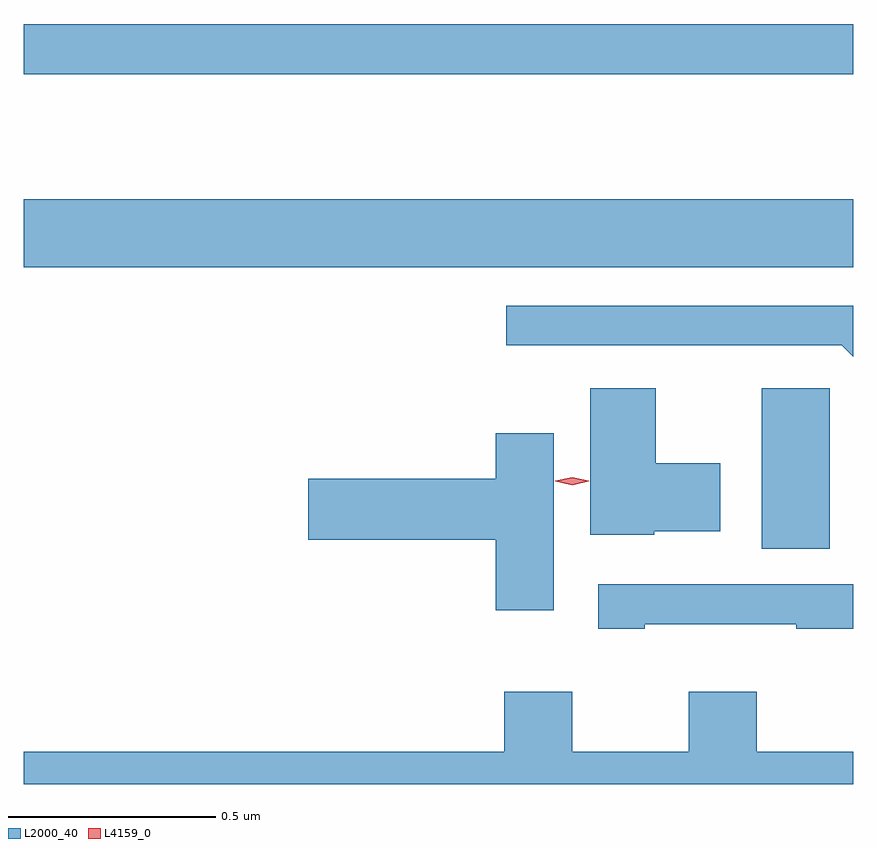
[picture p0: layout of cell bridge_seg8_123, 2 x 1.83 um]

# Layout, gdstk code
import gdstk
lib = gdstk.Library(unit=1e-6, precision=1e-09)
def R(c, l, rs):  # rectangles x0, y0, x1, y1
    for r in rs: c.add(gdstk.rectangle(r[:2], r[2:], *l))
def P(c, l, *ps):  # polygons
    for p in ps: c.add(gdstk.Polygon(p, *l))
L2000_40 = (2000, 40)
L4159_0 = (4159, 0)

bridge_seg8_123 = lib.new_cell('bridge_seg8_123')
R(bridge_seg8_123, L2000_40, [(787.364,1146.457,787.528,1146.844), (785.584,1147.136,787.584,1147.3), (785.584,1147.602,787.584,1147.723)])
P(bridge_seg8_123, L2000_40, [(787.584,1147.044),(786.747,1147.044),(786.747,1146.948),(787.557,1146.948),(787.584,1146.921)],
  [(787.104,1146.5),(787.264,1146.5),(787.264,1146.664),(787.108,1146.664),(787.108,1146.844),(786.95,1146.844),(786.95,1146.491),(787.104,1146.491)],
  [(786.862,1146.736),(786.722,1146.736),(786.722,1146.626),(786.27,1146.626),(786.27,1146.479),(786.722,1146.479),(786.722,1146.309),(786.862,1146.309)],
  [(787.081,1146.275),(787.447,1146.275),(787.447,1146.264),(787.584,1146.264),(787.584,1146.372),(786.969,1146.372),(786.969,1146.264),(787.081,1146.264)],
  [(787.584,1145.968),(787.351,1145.968),(787.351,1146.112),(787.187,1146.112),(787.187,1145.968),(786.907,1145.968),(786.907,1146.112),(786.743,1146.112),(786.743,1145.968),(785.584,1145.968),(785.584,1145.89),(787.584,1145.89)])
P(bridge_seg8_123, L4159_0, [(786.906,1146.61),(786.866,1146.62),(786.866,1146.62),(786.866,1146.621),(786.906,1146.63),(786.946,1146.621),(786.946,1146.62),(786.946,1146.62)])

lib.write_gds('bridge_seg8_123.gds')
